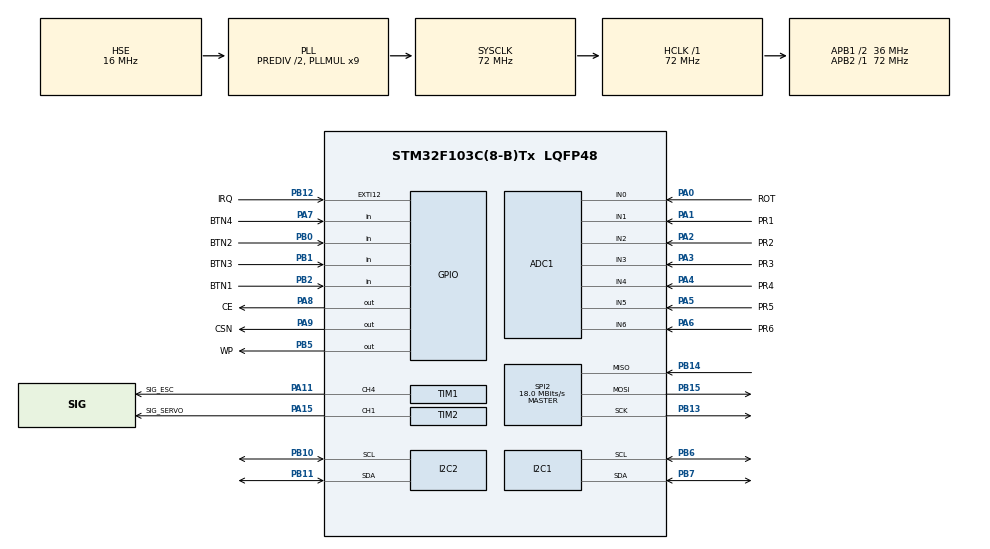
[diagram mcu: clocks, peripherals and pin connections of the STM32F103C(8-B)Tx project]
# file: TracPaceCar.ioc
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ADC1.Channel-0\#ChannelRegularConversion=ADC_CHANNEL_0
ADC1.NbrOfConversionFlag=1
ADC1.Rank-0\#ChannelRegularConversion=1
ADC1.SamplingTime-0\#ChannelRegularConversion=ADC_SAMPLETIME_1CYCLE_5
ADC1.master=1
Mcu.Family=STM32F1
Mcu.Name=STM32F103C(8-B)Tx
Mcu.Package=LQFP48
NVIC.PriorityGroup=NVIC_PRIORITYGROUP_4
NVIC.TIM3_IRQn=true\:0\:0\:false\:false\:true\:true\:true\:true
PA0-WKUP.GPIO_Label=ROT
PA0-WKUP.Signal=ADCx_IN0
PA1.GPIO_Label=PR1
PA1.Signal=ADCx_IN1
PA11.GPIO_Label=SIG_ESC
PA11.Signal=S_TIM1_CH4
PA13.Mode=Trace_Asynchronous_SW
PA13.Signal=SYS_JTMS-SWDIO
PA14.Mode=Trace_Asynchronous_SW
PA14.Signal=SYS_JTCK-SWCLK
PA15.GPIO_Label=SIG_SERVO
PA15.Signal=S_TIM2_CH1_ETR
PA2.GPIO_Label=PR2
PA2.Signal=ADCx_IN2
PA3.GPIO_Label=PR3
PA3.Signal=ADCx_IN3
PA4.GPIO_Label=PR4
PA4.Signal=ADCx_IN4
PA5.GPIO_Label=PR5
PA5.Signal=ADCx_IN5
PA6.GPIO_Label=PR6
PA6.Signal=ADCx_IN6
PA7.GPIO_Label=BTN4
PA7.Signal=GPIO_Input
PA8.GPIO_Label=CE
PA8.Signal=GPIO_Output
PA9.GPIO_Label=CSN
PA9.Signal=GPIO_Output
PB0.GPIO_Label=BTN2
PB0.Signal=GPIO_Input
PB1.GPIO_Label=BTN3
PB1.Signal=GPIO_Input
PB10.Mode=I2C
PB10.Signal=I2C2_SCL
PB11.Mode=I2C
PB11.Signal=I2C2_SDA
PB12.GPIO_Label=IRQ
PB12.Signal=GPXTI12
PB13.Mode=Full_Duplex_Master
PB13.Signal=SPI2_SCK
PB14.Mode=Full_Duplex_Master
PB14.Signal=SPI2_MISO
PB15.Mode=Full_Duplex_Master
PB15.Signal=SPI2_MOSI
PB2.GPIO_Label=BTN1
PB2.Signal=GPIO_Input
PB3.Mode=Trace_Asynchronous_SW
PB3.Signal=SYS_JTDO-TRACESWO
PB5.GPIO_Label=WP
PB5.Signal=GPIO_Output
PB6.Mode=I2C
PB6.Signal=I2C1_SCL
PB7.Mode=I2C
PB7.Signal=I2C1_SDA
PD0-OSC_IN.Mode=HSE-External-Oscillator
PD0-OSC_IN.Signal=RCC_OSC_IN
PD1-OSC_OUT.Mode=HSE-External-Oscillator
PD1-OSC_OUT.Signal=RCC_OSC_OUT
ProjectManager.HeapSize=0x200
ProjectManager.StackSize=0x400
ProjectManager.TargetToolchain=STM32CubeIDE
RCC.ADCPresc=RCC_ADCPCLK2_DIV6
RCC.AHBFreq_Value=72000000
RCC.APB1CLKDivider=RCC_HCLK_DIV2
RCC.APB1Freq_Value=36000000
RCC.APB1TimFreq_Value=72000000
RCC.APB2Freq_Value=72000000
RCC.APB2TimFreq_Value=72000000
RCC.HCLKFreq_Value=72000000
RCC.HSEDivPLL=RCC_HSE_PREDIV_DIV2
RCC.HSE_VALUE=16000000
RCC.PLLMUL=RCC_PLL_MUL9
RCC.PLLSourceVirtual=RCC_PLLSOURCE_HSE
RCC.SYSCLKFreq_VALUE=72000000
RCC.SYSCLKSource=RCC_SYSCLKSOURCE_PLLCLK
RCC.USBFreq_Value=72000000
SH.ADCx_IN0.0=ADC1_IN0,IN0
SH.ADCx_IN1.0=ADC1_IN1,IN1
SH.ADCx_IN2.0=ADC1_IN2,IN2
SH.ADCx_IN3.0=ADC1_IN3,IN3
SH.ADCx_IN4.0=ADC1_IN4,IN4
SH.ADCx_IN5.0=ADC1_IN5,IN5
SH.ADCx_IN6.0=ADC1_IN6,IN6
SH.S_TIM1_CH4.0=TIM1_CH4,PWM Generation4 CH4
SH.S_TIM2_CH1_ETR.0=TIM2_CH1,PWM Generation1 CH1
SPI2.BaudRatePrescaler=SPI_BAUDRATEPRESCALER_2
SPI2.CalculateBaudRate=18.0 MBits/s
SPI2.Direction=SPI_DIRECTION_2LINES
SPI2.Mode=SPI_MODE_MASTER
SPI2.VirtualType=VM_MASTER
TIM1.Channel-PWM\ Generation4\ CH4=TIM_CHANNEL_4
TIM1.Period=40000-1
TIM1.Prescaler=36-1
TIM2.Channel-PWM\ Generation1\ CH1=TIM_CHANNEL_1
TIM2.Period=40000-1
TIM2.Prescaler=36-1
TIM3.Period=1000-1
TIM3.Prescaler=720-1
VP_TIM1_VS_ClockSourceINT.Mode=Internal
VP_TIM2_VS_ClockSourceINT.Mode=Internal
VP_TIM3_VS_ClockSourceINT.Mode=Internal
board=custom

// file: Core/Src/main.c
/* USER CODE BEGIN Header */
/**
  ******************************************************************************
  * @file           : main.c
  * @brief          : Main program body
  ******************************************************************************
  * @attention
  *
  * Copyright (c) 2023 STMicroelectronics.
  * All rights reserved.
  *
  * This software is licensed under terms that can be found in the LICENSE file
  * in the root directory of this software component.
  * If no LICENSE file comes with this software, it is provided AS-IS.
  *
  ******************************************************************************
  */
/* USER CODE END Header */
#include "main.h"

/* USER CODE BEGIN Includes */
#include "control.h"
#include "input.h"
#include "signal.h"
/* USER CODE END Includes */

ADC_HandleTypeDef hadc1;

I2C_HandleTypeDef hi2c1;
I2C_HandleTypeDef hi2c2;

SPI_HandleTypeDef hspi2;

TIM_HandleTypeDef htim1;
TIM_HandleTypeDef htim2;
TIM_HandleTypeDef htim3;

void SystemClock_Config(void);
static void MX_GPIO_Init(void);
static void MX_I2C1_Init(void);
static void MX_I2C2_Init(void);
static void MX_ADC1_Init(void);
static void MX_SPI2_Init(void);
static void MX_TIM2_Init(void);
static void MX_TIM1_Init(void);
static void MX_TIM3_Init(void);

int main(void)
{

  /* MCU Configuration--------------------------------------------------------*/

  /* Reset of all peripherals, Initializes the Flash interface and the Systick. */
  HAL_Init();

  /* Configure the system clock */
  SystemClock_Config();

  /* Initialize all configured peripherals */
  MX_GPIO_Init();
  MX_I2C1_Init();
  MX_I2C2_Init();
  MX_ADC1_Init();
  MX_SPI2_Init();
  MX_TIM2_Init();
  MX_TIM1_Init();
  MX_TIM3_Init();
  /* USER CODE BEGIN 2 */
  HAL_TIM_PWM_Start(&htim1, TIM_CHANNEL_4);
  HAL_TIM_PWM_Start(&htim2, TIM_CHANNEL_1);

  //between 50 & 100
  //2,000 - 4,000
  TIM1->CCR4 = 3000;
  TIM2->CCR1 = 3000;
  Control_Init();
  //servo 30-130
  HAL_Delay(7000);
  /* USER CODE END 2 */

  /* Infinite loop */
  /* USER CODE BEGIN WHILE */
  while (1)
  {
//	Control_Loop();
	for (int x = 3000; x < 3100; x++) {
	  TIM1->CCR4 = x;
	  HAL_Delay(100);
	}
    /* USER CODE END WHILE */

  }
}

void SystemClock_Config(void)
{
  RCC_OscInitTypeDef RCC_OscInitStruct = {0};
  RCC_ClkInitTypeDef RCC_ClkInitStruct = {0};
  RCC_PeriphCLKInitTypeDef PeriphClkInit = {0};

  /** Initializes the RCC Oscillators according to the specified parameters
  * in the RCC_OscInitTypeDef structure.
  */
  RCC_OscInitStruct.OscillatorType = RCC_OSCILLATORTYPE_HSE;
  RCC_OscInitStruct.HSEState = RCC_HSE_ON;
  RCC_OscInitStruct.HSEPredivValue = RCC_HSE_PREDIV_DIV2;
  RCC_OscInitStruct.HSIState = RCC_HSI_ON;
  RCC_OscInitStruct.PLL.PLLState = RCC_PLL_ON;
  RCC_OscInitStruct.PLL.PLLSource = RCC_PLLSOURCE_HSE;
  RCC_OscInitStruct.PLL.PLLMUL = RCC_PLL_MUL9;
  if (HAL_RCC_OscConfig(&RCC_OscInitStruct) != HAL_OK)
  {
    Error_Handler();
  }

  /** Initializes the CPU, AHB and APB buses clocks
  */
  RCC_ClkInitStruct.ClockType = RCC_CLOCKTYPE_HCLK|RCC_CLOCKTYPE_SYSCLK
                              |RCC_CLOCKTYPE_PCLK1|RCC_CLOCKTYPE_PCLK2;
  RCC_ClkInitStruct.SYSCLKSource = RCC_SYSCLKSOURCE_PLLCLK;
  RCC_ClkInitStruct.AHBCLKDivider = RCC_SYSCLK_DIV1;
  RCC_ClkInitStruct.APB1CLKDivider = RCC_HCLK_DIV2;
  RCC_ClkInitStruct.APB2CLKDivider = RCC_HCLK_DIV1;

  if (HAL_RCC_ClockConfig(&RCC_ClkInitStruct, FLASH_LATENCY_2) != HAL_OK)
  {
    Error_Handler();
  }
  PeriphClkInit.PeriphClockSelection = RCC_PERIPHCLK_ADC;
  PeriphClkInit.AdcClockSelection = RCC_ADCPCLK2_DIV6;
  if (HAL_RCCEx_PeriphCLKConfig(&PeriphClkInit) != HAL_OK)
  {
    Error_Handler();
  }
}

static void MX_ADC1_Init(void)
{

  ADC_ChannelConfTypeDef sConfig = {0};

  /** Common config
  */
  hadc1.Instance = ADC1;
  hadc1.Init.ScanConvMode = ADC_SCAN_DISABLE;
  hadc1.Init.ContinuousConvMode = DISABLE;
  hadc1.Init.DiscontinuousConvMode = DISABLE;
  hadc1.Init.ExternalTrigConv = ADC_SOFTWARE_START;
  hadc1.Init.DataAlign = ADC_DATAALIGN_RIGHT;
  hadc1.Init.NbrOfConversion = 1;
  if (HAL_ADC_Init(&hadc1) != HAL_OK)
  {
    Error_Handler();
  }

  /** Configure Regular Channel
  */
  sConfig.Channel = ADC_CHANNEL_0;
  sConfig.Rank = ADC_REGULAR_RANK_1;
  sConfig.SamplingTime = ADC_SAMPLETIME_1CYCLE_5;
  if (HAL_ADC_ConfigChannel(&hadc1, &sConfig) != HAL_OK)
  {
    Error_Handler();
  }

}

static void MX_I2C1_Init(void)
{

  hi2c1.Instance = I2C1;
  hi2c1.Init.ClockSpeed = 100000;
  hi2c1.Init.DutyCycle = I2C_DUTYCYCLE_2;
  hi2c1.Init.OwnAddress1 = 0;
  hi2c1.Init.AddressingMode = I2C_ADDRESSINGMODE_7BIT;
  hi2c1.Init.DualAddressMode = I2C_DUALADDRESS_DISABLE;
  hi2c1.Init.OwnAddress2 = 0;
  hi2c1.Init.GeneralCallMode = I2C_GENERALCALL_DISABLE;
  hi2c1.Init.NoStretchMode = I2C_NOSTRETCH_DISABLE;
  if (HAL_I2C_Init(&hi2c1) != HAL_OK)
  {
    Error_Handler();
  }

}

static void MX_I2C2_Init(void)
{

  hi2c2.Instance = I2C2;
  hi2c2.Init.ClockSpeed = 100000;
  hi2c2.Init.DutyCycle = I2C_DUTYCYCLE_2;
  hi2c2.Init.OwnAddress1 = 0;
  hi2c2.Init.AddressingMode = I2C_ADDRESSINGMODE_7BIT;
  hi2c2.Init.DualAddressMode = I2C_DUALADDRESS_DISABLE;
  hi2c2.Init.OwnAddress2 = 0;
  hi2c2.Init.GeneralCallMode = I2C_GENERALCALL_DISABLE;
  hi2c2.Init.NoStretchMode = I2C_NOSTRETCH_DISABLE;
  if (HAL_I2C_Init(&hi2c2) != HAL_OK)
  {
    Error_Handler();
  }

}

static void MX_SPI2_Init(void)
{

  /* SPI2 parameter configuration*/
  hspi2.Instance = SPI2;
  hspi2.Init.Mode = SPI_MODE_MASTER;
  hspi2.Init.Direction = SPI_DIRECTION_2LINES;
  hspi2.Init.DataSize = SPI_DATASIZE_8BIT;
  hspi2.Init.CLKPolarity = SPI_POLARITY_LOW;
  hspi2.Init.CLKPhase = SPI_PHASE_1EDGE;
  hspi2.Init.NSS = SPI_NSS_SOFT;
  hspi2.Init.BaudRatePrescaler = SPI_BAUDRATEPRESCALER_2;
  hspi2.Init.FirstBit = SPI_FIRSTBIT_MSB;
  hspi2.Init.TIMode = SPI_TIMODE_DISABLE;
  hspi2.Init.CRCCalculation = SPI_CRCCALCULATION_DISABLE;
  hspi2.Init.CRCPolynomial = 10;
  if (HAL_SPI_Init(&hspi2) != HAL_OK)
  {
    Error_Handler();
  }

}

static void MX_TIM1_Init(void)
{

  TIM_ClockConfigTypeDef sClockSourceConfig = {0};
  TIM_MasterConfigTypeDef sMasterConfig = {0};
  TIM_OC_InitTypeDef sConfigOC = {0};
  TIM_BreakDeadTimeConfigTypeDef sBreakDeadTimeConfig = {0};

  htim1.Instance = TIM1;
  htim1.Init.Prescaler = 36-1;
  htim1.Init.CounterMode = TIM_COUNTERMODE_UP;
  htim1.Init.Period = 40000-1;
  htim1.Init.ClockDivision = TIM_CLOCKDIVISION_DIV1;
  htim1.Init.RepetitionCounter = 0;
  htim1.Init.AutoReloadPreload = TIM_AUTORELOAD_PRELOAD_DISABLE;
  if (HAL_TIM_Base_Init(&htim1) != HAL_OK)
  {
    Error_Handler();
  }
  sClockSourceConfig.ClockSource = TIM_CLOCKSOURCE_INTERNAL;
  if (HAL_TIM_ConfigClockSource(&htim1, &sClockSourceConfig) != HAL_OK)
  {
    Error_Handler();
  }
  if (HAL_TIM_PWM_Init(&htim1) != HAL_OK)
  {
    Error_Handler();
  }
  sMasterConfig.MasterOutputTrigger = TIM_TRGO_RESET;
  sMasterConfig.MasterSlaveMode = TIM_MASTERSLAVEMODE_DISABLE;
  if (HAL_TIMEx_MasterConfigSynchronization(&htim1, &sMasterConfig) != HAL_OK)
  {
    Error_Handler();
  }
  sConfigOC.OCMode = TIM_OCMODE_PWM1;
  sConfigOC.Pulse = 0;
  sConfigOC.OCPolarity = TIM_OCPOLARITY_HIGH;
  sConfigOC.OCFastMode = TIM_OCFAST_DISABLE;
  sConfigOC.OCIdleState = TIM_OCIDLESTATE_RESET;
  sConfigOC.OCNIdleState = TIM_OCNIDLESTATE_RESET;
  if (HAL_TIM_PWM_ConfigChannel(&htim1, &sConfigOC, TIM_CHANNEL_4) != HAL_OK)
  {
    Error_Handler();
  }
  sBreakDeadTimeConfig.OffStateRunMode = TIM_OSSR_DISABLE;
  sBreakDeadTimeConfig.OffStateIDLEMode = TIM_OSSI_DISABLE;
  sBreakDeadTimeConfig.LockLevel = TIM_LOCKLEVEL_OFF;
  sBreakDeadTimeConfig.DeadTime = 0;
  sBreakDeadTimeConfig.BreakState = TIM_BREAK_DISABLE;
  sBreakDeadTimeConfig.BreakPolarity = TIM_BREAKPOLARITY_HIGH;
  sBreakDeadTimeConfig.AutomaticOutput = TIM_AUTOMATICOUTPUT_DISABLE;
  if (HAL_TIMEx_ConfigBreakDeadTime(&htim1, &sBreakDeadTimeConfig) != HAL_OK)
  {
    Error_Handler();
  }
  HAL_TIM_MspPostInit(&htim1);

}

static void MX_TIM2_Init(void)
{

  TIM_ClockConfigTypeDef sClockSourceConfig = {0};
  TIM_MasterConfigTypeDef sMasterConfig = {0};
  TIM_OC_InitTypeDef sConfigOC = {0};

  htim2.Instance = TIM2;
  htim2.Init.Prescaler = 36-1;
  htim2.Init.CounterMode = TIM_COUNTERMODE_UP;
  htim2.Init.Period = 40000-1;
  htim2.Init.ClockDivision = TIM_CLOCKDIVISION_DIV1;
  htim2.Init.AutoReloadPreload = TIM_AUTORELOAD_PRELOAD_DISABLE;
  if (HAL_TIM_Base_Init(&htim2) != HAL_OK)
  {
    Error_Handler();
  }
  sClockSourceConfig.ClockSource = TIM_CLOCKSOURCE_INTERNAL;
  if (HAL_TIM_ConfigClockSource(&htim2, &sClockSourceConfig) != HAL_OK)
  {
    Error_Handler();
  }
  if (HAL_TIM_PWM_Init(&htim2) != HAL_OK)
  {
    Error_Handler();
  }
  sMasterConfig.MasterOutputTrigger = TIM_TRGO_RESET;
  sMasterConfig.MasterSlaveMode = TIM_MASTERSLAVEMODE_DISABLE;
  if (HAL_TIMEx_MasterConfigSynchronization(&htim2, &sMasterConfig) != HAL_OK)
  {
    Error_Handler();
  }
  sConfigOC.OCMode = TIM_OCMODE_PWM1;
  sConfigOC.Pulse = 0;
  sConfigOC.OCPolarity = TIM_OCPOLARITY_HIGH;
  sConfigOC.OCFastMode = TIM_OCFAST_DISABLE;
  if (HAL_TIM_PWM_ConfigChannel(&htim2, &sConfigOC, TIM_CHANNEL_1) != HAL_OK)
  {
    Error_Handler();
  }
  HAL_TIM_MspPostInit(&htim2);

}

static void MX_TIM3_Init(void)
{

  TIM_ClockConfigTypeDef sClockSourceConfig = {0};
  TIM_MasterConfigTypeDef sMasterConfig = {0};

  htim3.Instance = TIM3;
  htim3.Init.Prescaler = 720-1;
  htim3.Init.CounterMode = TIM_COUNTERMODE_UP;
  htim3.Init.Period = 1000-1;
  htim3.Init.ClockDivision = TIM_CLOCKDIVISION_DIV1;
  htim3.Init.AutoReloadPreload = TIM_AUTORELOAD_PRELOAD_DISABLE;
  if (HAL_TIM_Base_Init(&htim3) != HAL_OK)
  {
    Error_Handler();
  }
  sClockSourceConfig.ClockSource = TIM_CLOCKSOURCE_INTERNAL;
  if (HAL_TIM_ConfigClockSource(&htim3, &sClockSourceConfig) != HAL_OK)
  {
    Error_Handler();
  }
  sMasterConfig.MasterOutputTrigger = TIM_TRGO_RESET;
  sMasterConfig.MasterSlaveMode = TIM_MASTERSLAVEMODE_DISABLE;
  if (HAL_TIMEx_MasterConfigSynchronization(&htim3, &sMasterConfig) != HAL_OK)
  {
    Error_Handler();
  }
  /* USER CODE BEGIN TIM3_Init 2 */
  if (HAL_TIM_Base_Start_IT(&htim3) != HAL_OK) {
	Error_Handler();
  }
  /* USER CODE END TIM3_Init 2 */

}

static void MX_GPIO_Init(void)
{
  GPIO_InitTypeDef GPIO_InitStruct = {0};

  /* GPIO Ports Clock Enable */
  __HAL_RCC_GPIOD_CLK_ENABLE();
  __HAL_RCC_GPIOA_CLK_ENABLE();
  __HAL_RCC_GPIOB_CLK_ENABLE();

  /*Configure GPIO pin Output Level */
  HAL_GPIO_WritePin(GPIOA, CE_Pin|CSN_Pin, GPIO_PIN_RESET);

  /*Configure GPIO pin Output Level */
  HAL_GPIO_WritePin(WP_GPIO_Port, WP_Pin, GPIO_PIN_RESET);

  /*Configure GPIO pin : BTN4_Pin */
  GPIO_InitStruct.Pin = BTN4_Pin;
  GPIO_InitStruct.Mode = GPIO_MODE_INPUT;
  GPIO_InitStruct.Pull = GPIO_NOPULL;
  HAL_GPIO_Init(BTN4_GPIO_Port, &GPIO_InitStruct);

  /*Configure GPIO pins : BTN2_Pin BTN3_Pin BTN1_Pin */
  GPIO_InitStruct.Pin = BTN2_Pin|BTN3_Pin|BTN1_Pin;
  GPIO_InitStruct.Mode = GPIO_MODE_INPUT;
  GPIO_InitStruct.Pull = GPIO_NOPULL;
  HAL_GPIO_Init(GPIOB, &GPIO_InitStruct);

  /*Configure GPIO pin : IRQ_Pin */
  GPIO_InitStruct.Pin = IRQ_Pin;
  GPIO_InitStruct.Mode = GPIO_MODE_IT_RISING;
  GPIO_InitStruct.Pull = GPIO_NOPULL;
  HAL_GPIO_Init(IRQ_GPIO_Port, &GPIO_InitStruct);

  /*Configure GPIO pins : CE_Pin CSN_Pin */
  GPIO_InitStruct.Pin = CE_Pin|CSN_Pin;
  GPIO_InitStruct.Mode = GPIO_MODE_OUTPUT_PP;
  GPIO_InitStruct.Pull = GPIO_NOPULL;
  GPIO_InitStruct.Speed = GPIO_SPEED_FREQ_LOW;
  HAL_GPIO_Init(GPIOA, &GPIO_InitStruct);

  /*Configure GPIO pin : WP_Pin */
  GPIO_InitStruct.Pin = WP_Pin;
  GPIO_InitStruct.Mode = GPIO_MODE_OUTPUT_PP;
  GPIO_InitStruct.Pull = GPIO_NOPULL;
  GPIO_InitStruct.Speed = GPIO_SPEED_FREQ_LOW;
  HAL_GPIO_Init(WP_GPIO_Port, &GPIO_InitStruct);

}

/* USER CODE BEGIN 4 */
void HAL_TIM_PeriodElapsedCallback(TIM_HandleTypeDef *htim) {
	if (htim == &htim3) {
		Input_TimerHandler();
	}
}

void HAL_GPIO_EXTI_Callback(uint16_t GPIO_Pin) {
	//nrf interrupt
}
/* USER CODE END 4 */

void Error_Handler(void)
{
  __disable_irq();
  while (1)
  {
  }
}
